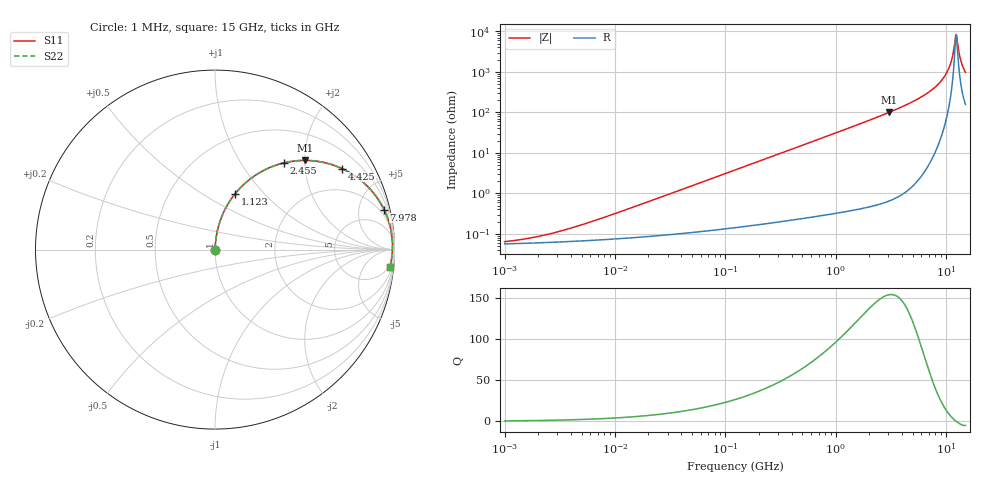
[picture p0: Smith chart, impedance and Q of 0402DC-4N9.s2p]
# MHz  S  MA  R  50
!Freq  MagS11  AngS11  MagS21  AngS21  MagS12  AngS12  MagS22  AngS22
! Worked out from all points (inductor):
!   801 points, 1 MHz to 15 GHz, reference 50 ohm
!   read as one part in series: L = 4.9 nH near 6.851 MHz
!   highest Q = 154 at 3.048 GHz (marker M1), where L = 5.22 nH
!   self-resonance near 12.3 GHz
!   S11 on the Smith chart (normalised r, x): 1 MHz: 1.00, +0.00; 1.123 GHz: 1.01, +0.70; 2.455 GHz: 1.01, +1.57; 4.425 GHz: 1.02, +3.12; 7.978 GHz: 1.21, +8.41; 15 GHz: 4, -19
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1  0.0006431 28.6  0.9994 -0.0  0.9994 -0.0  0.0006431 28.6
2.159231  0.0008983 47.7  0.9994 -0.0  0.9994 -0.0  0.0008983 47.7
5.011168  0.001681 66.4  0.9993 -0.1  0.9993 -0.1  0.001681 66.4
24.81158  0.007685 82.8  0.9991 -0.4  0.9991 -0.4  0.007685 82.8
122.8485  0.03777 85.7  0.9979 -2.2  0.9979 -2.2  0.03777 85.7
608.2547  0.1841 78.6  0.9804 -10.6  0.9804 -10.6  0.1841 78.6
1123.26  0.3283 70.3  0.9414 -19.2  0.9414 -19.2  0.3283 70.3
1670.526  0.4626 62.0  0.8829 -27.6  0.8829 -27.6  0.4626 62.0
2454.724  0.6163 51.6  0.7834 -38.0  0.7834 -38.0  0.6163 51.6
3048.066  0.7045 44.8  0.7051 -44.8  0.7051 -44.8  0.7045 44.8
4425.38  0.8395 32.5  0.5373 -57.1  0.5373 -57.1  0.8395 32.5
6197.356  0.9271 21.3  0.364 -68.0  0.364 -68.0  0.9271 21.3
7978.08  0.9675 13.3  0.2302 -75.3  0.2302 -75.3  0.9675 13.3
9328.308  0.982 8.5  0.1477 -78.8  0.1477 -78.8  0.982 8.5
10394.74  0.9874 5.2  0.09122 -79.5  0.09122 -79.5  0.9874 5.2
11039.03  0.9888 3.4  0.06018 -77.6  0.06018 -77.6  0.9888 3.4
11865.1  0.9891 1.3  0.02437 -62.9  0.02437 -62.9  0.9891 1.3
12301.04  0.9886 0.2  0.01179 -15.7  0.01179 -15.7  0.9886 0.2
12752.99  0.9878 -0.9  0.01963 51.1  0.01963 51.1  0.9878 -0.9
13543.44  0.9854 -2.7  0.04843 71.2  0.04843 71.2  0.9854 -2.7
14041.04  0.9835 -3.7  0.06668 73.8  0.06668 73.8  0.9835 -3.7
15000  0.9789 -5.7  0.1004 75.0  0.1004 75.0  0.9789 -5.7
